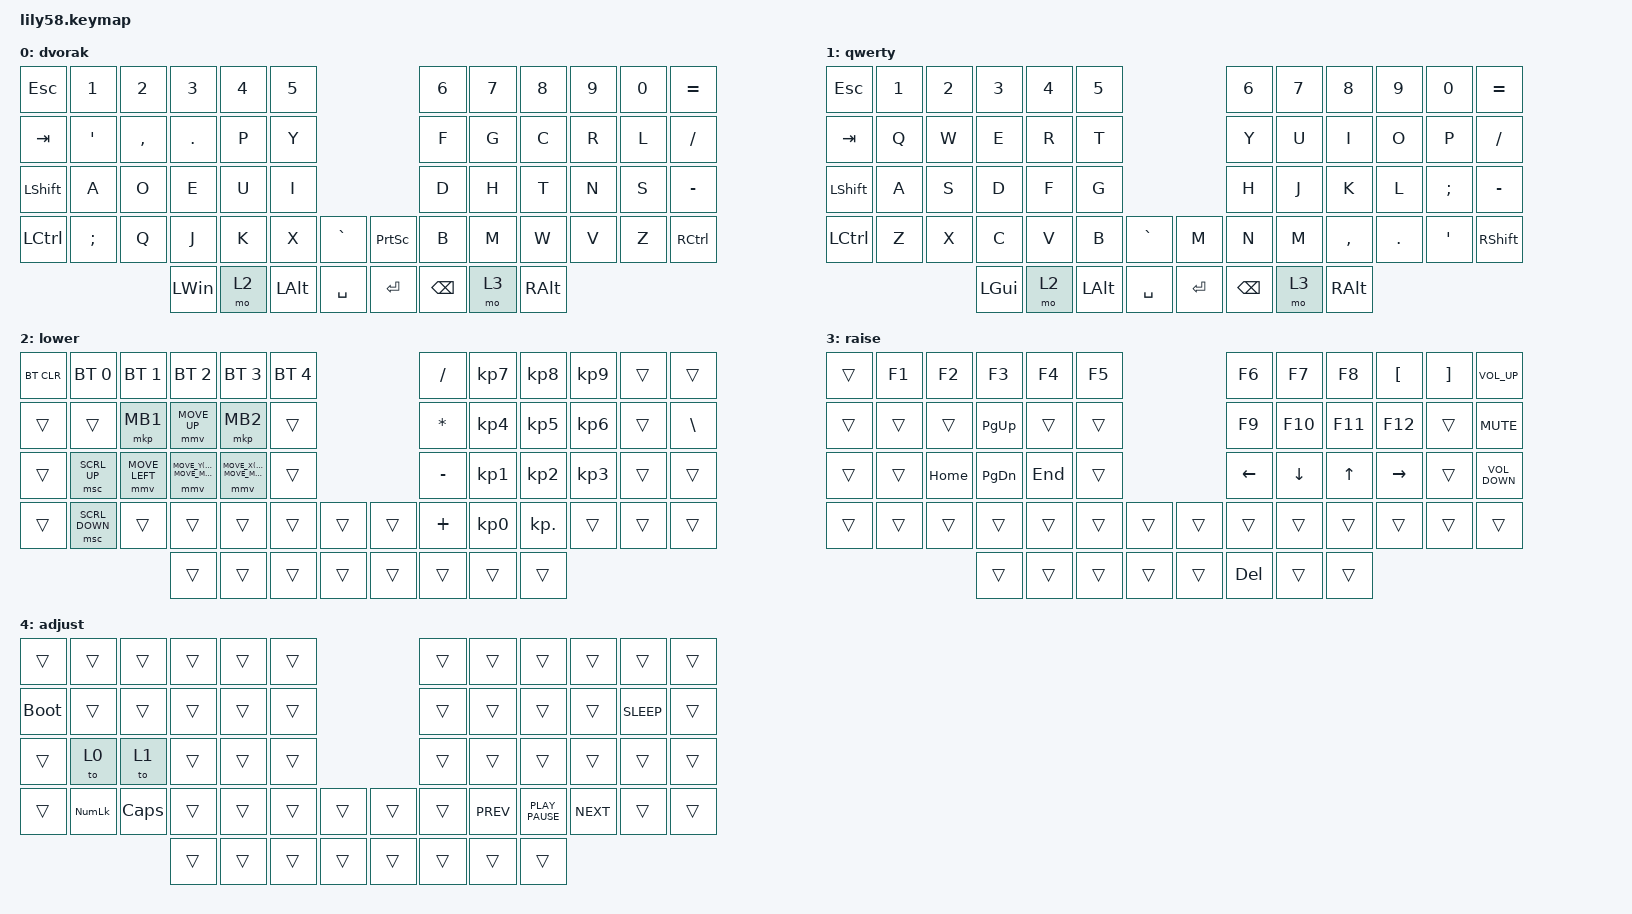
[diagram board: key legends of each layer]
/*
 * Copyright (c) 2020 The ZMK Contributors
 *
 * SPDX-License-Identifier: MIT
 */

#include <behaviors.dtsi>
#include <dt-bindings/zmk/bt.h>
#include <dt-bindings/zmk/keys.h>
#include <dt-bindings/zmk/mouse.h>

/ {
    #define MOUSE_MOVE_MAX 1400
	#undef MOVE_UP
	#undef MOVE_DOWN
	#undef MOVE_LEFT
	#undef MOVE_RIGHT
	#define MOVE_UP MOVE_Y(-MOUSE_MOVE_MAX)
	#define MOVE_DOWN MOVE_Y(MOUSE_MOVE_MAX)
	#define MOVE_LEFT MOVE_X(-MOUSE_MOVE_MAX)
	#define MOVE_RIGHT MOVE_X(MOUSE_MOVE_MAX)

    keymap {
        compatible = "zmk,keymap";

        dvorak_layer {
            display-name = "dvorak";
            bindings = <
&kp ESC         &kp N1         &kp N2     &kp N3        &kp N4  &kp N5                                      &kp N6         &kp N7  &kp N8         &kp N9  &kp N0  &kp EQUAL
&kp TAB         &kp SQT        &kp COMMA  &kp PERIOD    &kp P   &kp Y                                       &kp F          &kp G   &kp C          &kp R   &kp L   &kp SLASH
&kp LEFT_SHIFT  &kp A          &kp O      &kp E         &kp U   &kp I                                       &kp D          &kp H   &kp T          &kp N   &kp S   &kp MINUS
&kp LCTRL       &kp SEMICOLON  &kp Q      &kp J         &kp K   &kp X         &kp GRAVE    &kp PRINTSCREEN  &kp B          &kp M   &kp W          &kp V   &kp Z   &kp RCTRL
                                          &kp LEFT_WIN  &mo 2   &kp LEFT_ALT  &kp SPACE    &kp RET          &kp BACKSPACE  &mo 3   &kp RIGHT_ALT
            >;
        };

        qwerty_layer {
            bindings = <
&kp ESC    &kp N1  &kp N2  &kp N3    &kp N4  &kp N5                            &kp N6    &kp N7  &kp N8     &kp N9   &kp N0    &kp EQUAL
&kp TAB    &kp Q   &kp W   &kp E     &kp R   &kp T                             &kp Y     &kp U   &kp I      &kp O    &kp P     &kp FSLH
&kp LSHFT  &kp A   &kp S   &kp D     &kp F   &kp G                             &kp H     &kp J   &kp K      &kp L    &kp SEMI  &kp MINUS
&kp LCTRL  &kp Z   &kp X   &kp C     &kp V   &kp B     &kp GRAVE    &kp M      &kp N     &kp M   &kp COMMA  &kp DOT  &kp SQT   &kp RSHFT
                           &kp LGUI  &mo 2   &kp LALT  &kp SPACE    &kp ENTER  &kp BSPC  &mo 3   &kp RALT
            >;

            label = "qwerty";
        };

        lower_layer {
            display-name = "lower";
            bindings = <
&bt BT_CLR  &bt BT_SEL 0    &bt BT_SEL 1    &bt BT_SEL 2    &bt BT_SEL 3     &bt BT_SEL 4                    &kp SLASH     &kp KP_NUMBER_7  &kp KP_NUMBER_8  &kp KP_NUMBER_9  &trans  &trans
&trans      &trans          &mkp MB1        &mmv MOVE_UP    &mkp MB2         &trans                          &kp ASTERISK  &kp KP_NUMBER_4  &kp KP_NUMBER_5  &kp KP_NUMBER_6  &trans  &kp BACKSLASH
&trans      &msc SCRL_UP    &mmv MOVE_LEFT  &mmv MOVE_DOWN  &mmv MOVE_RIGHT  &trans                          &kp MINUS     &kp KP_NUMBER_1  &kp KP_NUMBER_2  &kp KP_NUMBER_3  &trans  &trans
&trans      &msc SCRL_DOWN  &trans          &trans          &trans           &trans        &trans    &trans  &kp PLUS      &kp KP_N0        &kp KP_DOT       &trans           &trans  &trans
                                            &trans          &trans           &trans        &trans    &trans  &trans        &trans           &trans
            >;
        };

        raise_layer {
            display-name = "raise";
            bindings = <
&trans  &kp F1  &kp F2    &kp F3         &kp F4   &kp F5                    &kp F6    &kp F7    &kp F8   &kp LBKT   &kp RBKT  &kp C_VOLUME_UP
&trans  &trans  &trans    &kp PAGE_UP    &trans   &trans                    &kp F9    &kp F10   &kp F11  &kp F12    &trans    &kp K_MUTE
&trans  &trans  &kp HOME  &kp PAGE_DOWN  &kp END  &trans                    &kp LEFT  &kp DOWN  &kp UP   &kp RIGHT  &trans    &kp C_VOLUME_DOWN
&trans  &trans  &trans    &trans         &trans   &trans  &trans    &trans  &trans    &trans    &trans   &trans     &trans    &trans
                          &trans         &trans   &trans  &trans    &trans  &kp DEL   &trans    &trans
            >;
        };

        adjust_layer {
            bindings = <
&trans       &trans          &trans        &trans  &trans  &trans                    &trans  &trans      &trans            &trans      &trans       &trans
&bootloader  &trans          &trans        &trans  &trans  &trans                    &trans  &trans      &trans            &trans      &kp K_SLEEP  &trans
&trans       &to 0           &to 1         &trans  &trans  &trans                    &trans  &trans      &trans            &trans      &trans       &trans
&trans       &kp KP_NUMLOCK  &kp CAPSLOCK  &trans  &trans  &trans  &trans    &trans  &trans  &kp K_PREV  &kp K_PLAY_PAUSE  &kp K_NEXT  &trans       &trans
                                           &trans  &trans  &trans  &trans    &trans  &trans  &trans      &trans
            >;

            label = "adjust";
        };
    };

    conditional_layers {
        compatible = "zmk,conditional-layers";

        adjust_condition {
            if-layers = <2 3>;
            then-layer = <4>;
        };
    };
};
